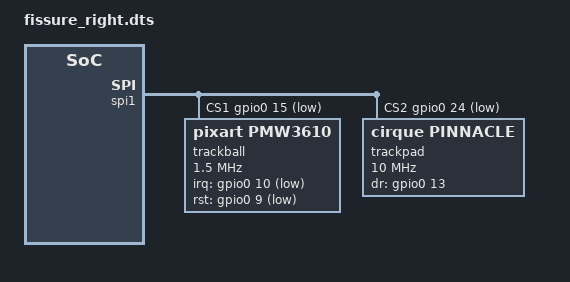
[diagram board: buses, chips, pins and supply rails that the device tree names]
#include "fissure.dtsi"
#include "dt-bindings/zmk/is31fl3729_transform.h"
#include "fissure_right-pinctrl.dtsi"

&transform {
    row-offset = <4>;
};

/ {
    chosen {
    };
};

#define RGB_CS0 3, 2, 1
#define RGB_CS1 9, 8, 7
#define RGB_CS2 12, 11, 10
#define RGB_CS3 15, 14, 13
#define RGB_CS4 6, 5, 4
&rgb {
    map = <
PIX(3, 0) PIX(2, 0) PIX(1, 0) PIX(0, 0) PIX(0, 2) PIX(0, 3)
PIX(3, 1) PIX(2, 1) PIX(0, 4) PIX(0, 1) PIX(2, 3) PIX(1, 3) 
PIX(3, 2) PIX(2, 2) PIX(1, 1) PIX(1, 2) PIX(3, 3)
PIX(3, 4) PIX(2, 4) PIX(1, 4)
        >;
};

&rgb {
    sdb-gpios = <&gpio0 4 (GPIO_ACTIVE_HIGH | GPIO_PULL_DOWN)>;
};

&spi1 {
    cs-gpios = <&gpio1 0 GPIO_ACTIVE_LOW>, <&gpio0 15 GPIO_ACTIVE_LOW>, <&gpio0 24 GPIO_ACTIVE_LOW>;
               // <&gpio0 8 GPIO_ACTIVE_LOW>;
    trackball: trackball@1 {
        compatible = "pixart,pmw3610";
        status = "okay";
        reg = <1>;
        spi-max-frequency = <1500000>;
        irq-gpios = <&gpio0 10 GPIO_ACTIVE_LOW>;
        rst-gpios = <&gpio0 9 GPIO_ACTIVE_LOW>;
    };

    trackpad@2 {
        compatible = "cirque,pinnacle";
        status = "okay";
        reg = <2>;
        spi-max-frequency = <10000000>;
        dr-gpios = <&gpio0 13 GPIO_ACTIVE_HIGH>;
        rotate-90;
        sleep;
        /* no-taps; */
    };
};
